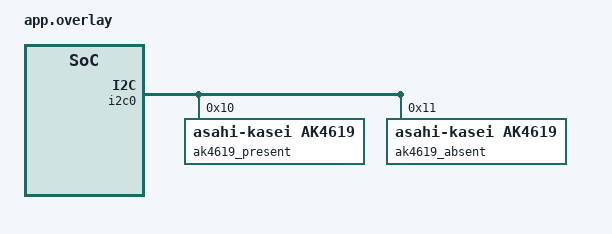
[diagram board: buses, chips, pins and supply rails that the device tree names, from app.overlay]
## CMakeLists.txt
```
cmake_minimum_required(VERSION 3.20.0)

find_package(Zephyr REQUIRED HINTS $ENV{ZEPHYR_BASE})
project(ak4619_tests)

# The driver under test lives with the sample that owns it (issue #42), so the
# suite reaches across to it rather than the other way round. This is the only
# place that path is spelled out.
set(AK4619_SAMPLE_DIR ${CMAKE_CURRENT_SOURCE_DIR}/../../../../samples/audio/ak4619_loopback)

target_sources(app PRIVATE
	${AK4619_SAMPLE_DIR}/drivers/ak4619.c
	${AK4619_SAMPLE_DIR}/src/loopback_verdict.c
	src/ak4619_emul.c
	src/test_ak4619.c
	src/test_loopback_verdict.c
)

# drivers/ for the driver's own header; src/ of the *sample* for
# loopback_format.h, the single definition of the audio format the codec and
# the two I2S blocks all come from (issue #46). The suite asserts what that
# definition programs, which is the only way to catch it drifting away from
# what the part can actually do without an evaluation board attached.
target_include_directories(app PRIVATE
	${AK4619_SAMPLE_DIR}/drivers
	${AK4619_SAMPLE_DIR}/src
	src
)
```

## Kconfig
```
# The codec driver is not part of the module, so its Kconfig does not arrive
# through the module glue the way the pipeline's does. It is rsourced straight
# from the sample that owns it, which is also what the sample's own Kconfig
# root does - one definition, two consumers.
rsource "../../../../samples/audio/ak4619_loopback/drivers/Kconfig"

# The same for the application's own choices: the suite compiles src/ of the
# sample, so it has to see the symbols src/loopback_format.h is written against.
rsource "../../../../samples/audio/ak4619_loopback/Kconfig.loopback"

# A test application supplies the Kconfig root, so the rest of the tree has to
# be sourced explicitly.
source "Kconfig.zephyr"
```

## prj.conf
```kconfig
CONFIG_ZTEST=y

# CONFIG_I2C arrives through CONFIG_AK4619, which the codec nodes in
# app.overlay turn on by themselves. What has to be named here is the emulated
# bus and the emulator framework the suite's stand-in part is built on: there
# is no I2C peripheral on native_sim, and the point of the suite is that there
# does not need to be one.
CONFIG_I2C_EMUL=y
CONFIG_EMUL=y

# The driver's diagnostics are part of what this ticket delivers, so build them
# and let them run - the absent-part case logs its checklist during suite
# start-up, which is a readable record of the failure path in the Twister log.
CONFIG_LOG=y
CONFIG_LOG_MODE_IMMEDIATE=y

# The absent part at 0x11 never answers, and its initialisation polls until it
# gives up. 20 ms keeps that bounded: two attempts on top of the datasheet's
# mandatory 10 ms settling wait, which is enough to exercise the retry without
# adding a visible pause to every run.
CONFIG_AK4619_PROBE_TIMEOUT_MS=20
```

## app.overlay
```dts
/*
 * Two AK4619 nodes on native_sim's emulated I2C controller, both backed by
 * src/ak4619_emul.c.
 *
 *   ak4619_present (0x10) behaves like a part that is powered and answering.
 *   ak4619_absent  (0x11) NACKs everything, the way an unpowered evaluation
 *                         board or a bus with nothing on it does.
 *
 * The second node is not decoration: issue #45 requires that a run against an
 * unpowered board fails with a diagnosable message rather than reporting
 * success or hanging, and a device that is expected *not* to become ready is
 * the only way to assert that without hardware. The emulator picks its
 * behaviour off the address, so the two share one compatible and one binding.
 *
 * SPDX-License-Identifier: Apache-2.0
 */

&i2c0 {
	status = "okay";

	ak4619_present: audio-codec@10 {
		compatible = "asahi-kasei,ak4619";
		reg = <0x10>;
		status = "okay";
	};

	ak4619_absent: audio-codec@11 {
		compatible = "asahi-kasei,ak4619";
		reg = <0x11>;
		status = "okay";
	};
};
```

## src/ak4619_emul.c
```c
/*
 * An emulated AK4619 on the native_sim I2C bus.
 *
 * It models what the driver actually depends on and nothing else: the 0x00-
 * 0x14 register file, the two-byte write and random-address read of datasheet
 * pp.57-58, and the internal address counter that auto-increments and rolls
 * over past 0x14. On top of that it can be told to misbehave, which is how the
 * "an ACK is not proof" half of issue #45 gets tested on a host.
 *
 * Deliberately NOT modelled: the reset defaults at power-on. The register file
 * comes up filled with a scribble pattern instead, so a test that finds the
 * datasheet defaults after init has watched the driver put them there. The
 * situation it stands for is real - a warm MCU restart against a codec that is
 * still powered and still configured from the previous run.
 *
 * SPDX-License-Identifier: Apache-2.0
 */

#define DT_DRV_COMPAT asahi_kasei_ak4619

#include <errno.h>
#include <string.h>

#include <zephyr/device.h>
#include <zephyr/drivers/emul.h>
#include <zephyr/drivers/i2c.h>
#include <zephyr/drivers/i2c_emul.h>
#include <zephyr/sys/util.h>

#include "ak4619_emul.h"

/* The register file the driver may touch, 0x00..0x14 (datasheet p.60). */
#define AK4619_EMUL_REG_COUNT 0x15U

/* What an untouched register file holds - see the file comment. */
#define AK4619_EMUL_SCRIBBLE 0x5AU

/*
 * The address the overlay gives the node that stands in for a part which is
 * not there. Keying on the address rather than on a devicetree property keeps
 * both nodes on the production binding, which is the point: the driver must
 * not need a test-only property to be testable.
 */
#define AK4619_EMUL_ABSENT_ADDR 0x11U

struct ak4619_emul_data {
	uint8_t regs[AK4619_EMUL_REG_COUNT];
	uint8_t addr_counter;
	enum ak4619_emul_fault fault;
	bool absent;
};

static struct ak4619_emul_data *emul_data(const struct emul *target)
{
	return target->data;
}

void ak4619_emul_set_fault(const struct emul *target, enum ak4619_emul_fault fault)
{
	emul_data(target)->fault = fault;
}

void ak4619_emul_scribble(const struct emul *target)
{
	struct ak4619_emul_data *data = emul_data(target);

	memset(data->regs, AK4619_EMUL_SCRIBBLE, sizeof(data->regs));
}

int ak4619_emul_peek(const struct emul *target, uint8_t reg, uint8_t *val)
{
	if (reg >= AK4619_EMUL_REG_COUNT) {
		return -EINVAL;
	}

	*val = emul_data(target)->regs[reg];

	return 0;
}

/* The internal counter rolls over past 0x14 rather than stalling (p.57). */
static void advance(struct ak4619_emul_data *data)
{
	data->addr_counter = (data->addr_counter + 1U) % AK4619_EMUL_REG_COUNT;
}

static int ak4619_emul_write_msg(struct ak4619_emul_data *data, const struct i2c_msg *msg)
{
	if (msg->len == 0U) {
		return 0;
	}

	/*
	 * The first byte of a write is always the sub-address, whose top bit
	 * is fixed at zero (p.57, Figures 36 and 38); everything after it is
	 * data, walking the counter.
	 */
	data->addr_counter = msg->buf[0] & 0x7FU;

	if (data->addr_counter >= AK4619_EMUL_REG_COUNT) {
		/* Writing 0x15..0x7F is prohibited; the driver must not. */
		return -EIO;
	}

	for (uint32_t i = 1U; i < msg->len; i++) {
		if (data->fault != AK4619_EMUL_FAULT_IGNORE_WRITES) {
			data->regs[data->addr_counter] = msg->buf[i];
		}
		advance(data);
	}

	return 0;
}

static int ak4619_emul_read_msg(struct ak4619_emul_data *data, struct i2c_msg *msg)
{
	for (uint32_t i = 0; i < msg->len; i++) {
		if (data->fault == AK4619_EMUL_FAULT_READ_ONES) {
			msg->buf[i] = 0xFFU;
		} else {
			msg->buf[i] = data->regs[data->addr_counter];
		}
		advance(data);
	}

	return 0;
}

static int ak4619_emul_transfer(const struct emul *target, struct i2c_msg *msgs, int num_msgs,
				int addr)
{
	struct ak4619_emul_data *data = emul_data(target);

	ARG_UNUSED(addr);

	if (data->absent || data->fault == AK4619_EMUL_FAULT_NACK) {
		/* No ACK: exactly what an unpowered board looks like. */
		return -EIO;
	}

	for (int i = 0; i < num_msgs; i++) {
		int ret;

		if ((msgs[i].flags & I2C_MSG_READ) != 0U) {
			ret = ak4619_emul_read_msg(data, &msgs[i]);
		} else {
			ret = ak4619_emul_write_msg(data, &msgs[i]);
		}

		if (ret < 0) {
			return ret;
		}
	}

	return 0;
}

static const struct i2c_emul_api ak4619_emul_api = {
	.transfer = ak4619_emul_transfer,
};

static int ak4619_emul_init(const struct emul *target, const struct device *parent)
{
	struct ak4619_emul_data *data = emul_data(target);

	ARG_UNUSED(parent);

	data->absent = (target->bus.i2c->addr == AK4619_EMUL_ABSENT_ADDR);
	data->fault = AK4619_EMUL_FAULT_NONE;
	data->addr_counter = 0U;
	ak4619_emul_scribble(target);

	return 0;
}

#define AK4619_EMUL_DEFINE(inst)                                                                   \
	static struct ak4619_emul_data ak4619_emul_data_##inst;                                    \
	EMUL_DT_INST_DEFINE(inst, ak4619_emul_init, &ak4619_emul_data_##inst, NULL,                \
			    &ak4619_emul_api, NULL)

DT_INST_FOREACH_STATUS_OKAY(AK4619_EMUL_DEFINE)
```

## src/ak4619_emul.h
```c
/*
 * Test-side control of the emulated AK4619 - see ak4619_emul.c.
 *
 * SPDX-License-Identifier: Apache-2.0
 */

#ifndef ZEPHYR_AUDIO_TOOLKIT_TESTS_AK4619_EMUL_H_
#define ZEPHYR_AUDIO_TOOLKIT_TESTS_AK4619_EMUL_H_

#include <stdint.h>

#include <zephyr/drivers/emul.h>

/** Ways the emulated part can be made to lie, all of them things a real bus does. */
enum ak4619_emul_fault {
	/** Behaves like a healthy AK4619. */
	AK4619_EMUL_FAULT_NONE,
	/** ACKs every byte and throws the writes away: the "ACK into the void" case. */
	AK4619_EMUL_FAULT_IGNORE_WRITES,
	/** Reads return 0xFF, which is what an idle open-drain bus reads as. */
	AK4619_EMUL_FAULT_READ_ONES,
	/** Nothing on the bus answers at all. */
	AK4619_EMUL_FAULT_NACK,
};

/** Select the emulated part's behaviour. */
void ak4619_emul_set_fault(const struct emul *target, enum ak4619_emul_fault fault);

/** Refill the register file with the scribble pattern an untouched part holds. */
void ak4619_emul_scribble(const struct emul *target);

/** Read a register out of band, without going through the bus. */
int ak4619_emul_peek(const struct emul *target, uint8_t reg, uint8_t *val);

#endif /* ZEPHYR_AUDIO_TOOLKIT_TESTS_AK4619_EMUL_H_ */
```

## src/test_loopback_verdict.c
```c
/*
 * The loopback's oracle on a host: the arithmetic that decides PASS or FAIL,
 * checked without an evaluation board, a cable or a codec.
 *
 * WHY THIS SUITE EXISTS
 * ---------------------
 * Everything the console prints at the end of a hardware run comes out of
 * src/loopback_verdict.c, and every mistake in it produces a plausible-looking
 * console. A level computed 48 dB low because the captured word was read as if
 * it were right-justified still prints a number, still prints a verdict, and
 * still looks like a wiring problem to whoever is holding the cable. The cases
 * below are the ones that cannot be told apart on a bench.
 *
 * The one that matters most is
 * test_loopback_verdict_fails_a_capture_that_ignored_the_slot_padding: it feeds
 * in exactly the samples the AK4619's ADC produces, once placed correctly in
 * the 32-bit slot and once placed as a naive reader would place them, and
 * requires the two to reach opposite verdicts.
 *
 * SPDX-License-Identifier: Apache-2.0
 */

#include <errno.h>
#include <string.h>

#include <zephyr/ztest.h>

#include "loopback_format.h"
#include "loopback_verdict.h"

/*
 * These cases carry numbers worked out by hand from the gain plan of
 * docs/hardware/akd4619-evaluation-board.md §4.5, so they are only correct for
 * that plan. Asserted rather than skipped: a change to the levels or to the
 * slot length has to be followed here, and a build error says so where a
 * skipped case would not.
 */
BUILD_ASSERT(AK4619_LOOPBACK_CAPTURE_BITS == 24U,
	     "the numbers below assume the 24-bit ADC word of a 32-bit slot");
BUILD_ASSERT(AK4619_LOOPBACK_EXPECTED_RMS_DBFS_X10 == -120,
	     "the numbers below assume the -12.0 dBFS RMS the §4.5 gain plan produces");
BUILD_ASSERT(AK4619_LOOPBACK_TONE_DBFS_X10 == -30,
	     "the numbers below assume a -3.0 dBFS peak stimulus");

/** Full scale of the ADC's own output word. */
#define ADC_FULL_SCALE (1 << (AK4619_LOOPBACK_CAPTURE_BITS - 1U))

/*
 * The peak the ADC should produce with the loop closed.
 *
 * The tone is -3.0 dBFS peak and the loop's gain is -6.0 dB (§4.5), so the
 * captured peak is -9.0 dBFS of the ADC's own full scale:
 * 2^23 * 10^(-9.02/20) = 8388608 * 0.35481 = 2976427.
 */
#define ADC_PEAK_GOOD 2976427

/** Q16 of 1/sqrt(2): a sine's RMS relative to its peak. */
#define RMS_OF_PEAK_Q16 46341

/*
 * The RMS the analyzer reports for a sine of @p container_peak in the canonical
 * container.
 *
 * Two narrowings, in the order the real path applies them: the analyzer shifts
 * every sample down by AUDIO_TONE_ANALYZER_INPUT_SHIFT before it measures
 * anything, and what it publishes is an RMS rather than a peak.
 */
static int32_t analyzer_rms_for_container_peak(int32_t container_peak)
{
	int64_t narrowed = (int64_t)(container_peak >> AUDIO_TONE_ANALYZER_INPUT_SHIFT);

	return (int32_t)((narrowed * RMS_OF_PEAK_Q16) >> 16);
}

/*
 * A result of the shape the tone analyzer publishes for a healthy stereo
 * loopback, with each channel's RMS set by the caller.
 */
static void make_result(struct audio_tone_analyzer_result *result,
			enum audio_tone_analyzer_verdict verdict, int32_t rms_lch, int32_t rms_rch)
{
	const int32_t rms[2] = {rms_lch, rms_rch};
	uint8_t ch;

	memset(result, 0, sizeof(*result));
	result->verdict = verdict;
	result->windows = 5;
	result->window_samples = AK4619_LOOPBACK_WINDOW_SAMPLES;
	result->channels = 2;
	result->tones = 2;

	for (ch = 0; ch < 2U; ch++) {
		/* Each channel carries its own tone and nothing else: nearly all
		 * of its energy in its own bin, a clean one-sinusoid fit.
		 */
		result->channel[ch].in_band_q15[ch] = AUDIO_TONE_ANALYZER_UNITY_Q15 - 100;
		result->channel[ch].in_band_q15[1U - ch] = 30;
		result->channel[ch].rms = rms[ch];
		result->channel[ch].residual_q15 = 4;
		result->channel[ch].strongest = (int8_t)ch;
		result->channel[ch].tonal = true;
		result->channel[ch].silent = rms[ch] < AUDIO_TONE_ANALYZER_SILENCE_RMS;
	}
}

ZTEST_SUITE(ak4619_loopback_verdict, NULL, NULL, NULL, NULL, NULL);

ZTEST(ak4619_loopback_verdict, test_loopback_verdict_converts_known_ratios_to_decibels)
{
	const int32_t full = AUDIO_TONE_ANALYZER_INPUT_MAX;

	zassert_equal(ak4619_loopback_dbfs_x10(full, full), 0, "full scale is 0 dBFS");
	zassert_equal(ak4619_loopback_dbfs_x10(full / 2, full), -60, "half is -6.0 dBFS");
	zassert_equal(ak4619_loopback_dbfs_x10(full / 4, full), -120, "a quarter is -12.0 dBFS");
	zassert_equal(ak4619_loopback_dbfs_x10(full / 1024, full), -602,
		      "1/1024 is -60.2 dBFS, which is where a 10-bit error would land");

	/* Zero has no logarithm, and an unusable reference is not a level. */
	zassert_equal(ak4619_loopback_dbfs_x10(0, full), AK4619_LOOPBACK_DBFS_FLOOR_X10);
	zassert_equal(ak4619_loopback_dbfs_x10(-1, full), AK4619_LOOPBACK_DBFS_FLOOR_X10);
	zassert_equal(ak4619_loopback_dbfs_x10(full, 0), AK4619_LOOPBACK_DBFS_FLOOR_X10);
}

ZTEST(ak4619_loopback_verdict, test_loopback_verdict_amplitude_matches_the_level_it_claims)
{
	/*
	 * AK4619_LOOPBACK_TONE_AMPLITUDE_Q15 and AK4619_LOOPBACK_TONE_DBFS_X10
	 * are two statements of one thing: the Q15 value is what the tone
	 * generator is given, the decibel value is what the pass window is built
	 * from. Nothing in the application compares them, so this does.
	 */
	zassert_equal(ak4619_loopback_dbfs_x10(AK4619_LOOPBACK_TONE_AMPLITUDE_Q15,
					       AUDIO_TONE_ANALYZER_INPUT_MAX),
		      AK4619_LOOPBACK_TONE_DBFS_X10,
		      "the tone's Q15 amplitude and its stated level have drifted apart");
}

ZTEST(ak4619_loopback_verdict, test_loopback_verdict_expectation_follows_the_programmed_gains)
{
	/* The expectation is the tone, plus the three gains the driver writes to
	 * the part, plus the RMS-of-a-sine conversion - and nothing else. Stated
	 * again here so that a change to any of them has to be deliberate.
	 */
	zassert_equal(AK4619_LOOPBACK_LOOP_GAIN_DBFS_X10, -60,
		      "the §4.5 gain plan is DAC -6.0 dB, MIC amp 0 dB, ADC digital 0 dB");
	zassert_equal(AK4619_LOOPBACK_EXPECTED_RMS_DBFS_X10, -120);
	zassert_equal(AK4619_LOOPBACK_LEVEL_TOLERANCE_X10, 40);
}

ZTEST(ak4619_loopback_verdict, test_loopback_verdict_passes_a_good_window)
{
	struct audio_tone_analyzer_result result;
	struct ak4619_loopback_report report;
	int32_t rms = analyzer_rms_for_container_peak(
		ak4619_loopback_capture_to_container(ADC_PEAK_GOOD));

	make_result(&result, AUDIO_TONE_ANALYZER_VERDICT_PASS, rms, rms);

	zassert_ok(ak4619_loopback_evaluate(&result, &report));
	zassert_equal(report.verdict, AK4619_LOOPBACK_VERDICT_PASS, "verdict was %s",
		      ak4619_loopback_verdict_name(report.verdict));
	zassert_true(ak4619_loopback_passed(&report));
	zassert_equal(report.channel_at_fault, -1, "a pass blames no channel");
	zassert_equal(report.channels, 2);
	zassert_equal(report.windows, 5);

	/* And the level it reports is the one the gain plan predicts, to the
	 * tenth of a decibel the console prints.
	 */
	zassert_within(report.channel[0].level_dbfs_x10, AK4619_LOOPBACK_EXPECTED_RMS_DBFS_X10, 2,
		       "Lch measured %d, expected %d", report.channel[0].level_dbfs_x10,
		       AK4619_LOOPBACK_EXPECTED_RMS_DBFS_X10);
	zassert_equal(report.channel[0].carries, 0, "Lch must carry the first tone");
	zassert_equal(report.channel[1].carries, 1, "Rch must carry the second tone");
}

ZTEST(ak4619_loopback_verdict, test_loopback_verdict_fails_a_capture_that_ignored_the_slot_padding)
{
	struct audio_tone_analyzer_result result;
	struct ak4619_loopback_report report;
	int32_t rms_placed;
	int32_t rms_naive;

	/*
	 * The same ADC output word, placed two ways.
	 *
	 * Correct: the part puts its 24-bit word at the start of the 32-bit slot
	 * and pads with zeros, so the word ends at the top of the container.
	 * Naive: treat the slot value as a right-justified 24-bit number.
	 *
	 * The two differ by 8 bits of slot padding plus the 16 the wire seam
	 * would otherwise apply - 48 dB - which is the whole difference between
	 * a working loop and one that looks broken.
	 */
	rms_placed = analyzer_rms_for_container_peak(
		ak4619_loopback_capture_to_container(ADC_PEAK_GOOD));
	rms_naive = analyzer_rms_for_container_peak(ADC_PEAK_GOOD);

	zassert_true(rms_placed > rms_naive * 100,
		     "the two placements must be orders of magnitude apart, not adjacent");

	make_result(&result, AUDIO_TONE_ANALYZER_VERDICT_PASS, rms_naive, rms_naive);
	zassert_ok(ak4619_loopback_evaluate(&result, &report));

	/* The analyzer is perfectly happy: the tone is on the right channel and
	 * it is tonal. Only the level says the sample was never put where the
	 * part actually puts it.
	 */
	zassert_equal(report.verdict, AK4619_LOOPBACK_VERDICT_LEVEL_LOW,
		      "a 48 dB placement error must fail on level, not pass quietly (%s)",
		      ak4619_loopback_verdict_name(report.verdict));
	zassert_equal(report.channel_at_fault, 0, "the first channel out of range is named");
}

ZTEST(ak4619_loopback_verdict, test_loopback_verdict_reports_a_quiet_loop_and_names_the_channel)
{
	struct audio_tone_analyzer_result result;
	struct ak4619_loopback_report report;
	int32_t good = analyzer_rms_for_container_peak(
		ak4619_loopback_capture_to_container(ADC_PEAK_GOOD));

	/* One channel 6 dB down: inside no tolerance, and a different fault from
	 * both channels being down - one bad contact rather than a gain plan
	 * that was not programmed.
	 */
	make_result(&result, AUDIO_TONE_ANALYZER_VERDICT_PASS, good, good / 2);

	zassert_ok(ak4619_loopback_evaluate(&result, &report));
	zassert_equal(report.verdict, AK4619_LOOPBACK_VERDICT_LEVEL_LOW);
	zassert_equal(report.channel_at_fault, 1, "the right channel is the one at fault");
}

ZTEST(ak4619_loopback_verdict, test_loopback_verdict_reports_a_loud_loop)
{
	struct audio_tone_analyzer_result result;
	struct ak4619_loopback_report report;
	int32_t good = analyzer_rms_for_container_peak(
		ak4619_loopback_capture_to_container(ADC_PEAK_GOOD));

	/* 6 dB up, which on this loop means the ADC is a few dB from clipping. */
	make_result(&result, AUDIO_TONE_ANALYZER_VERDICT_PASS, good * 2, good * 2);

	zassert_ok(ak4619_loopback_evaluate(&result, &report));
	zassert_equal(report.verdict, AK4619_LOOPBACK_VERDICT_LEVEL_HIGH);
	zassert_equal(report.channel_at_fault, 0);
}

ZTEST(ak4619_loopback_verdict, test_loopback_verdict_accepts_the_whole_tolerance_band)
{
	struct audio_tone_analyzer_result result;
	struct ak4619_loopback_report report;
	int32_t good = analyzer_rms_for_container_peak(
		ak4619_loopback_capture_to_container(ADC_PEAK_GOOD));

	/* 3 dB either way is inside the 4 dB budget, so neither end of a
	 * worst-case pairing of the two full-scale tolerances fails.
	 */
	make_result(&result, AUDIO_TONE_ANALYZER_VERDICT_PASS, (int32_t)(((int64_t)good * 7) / 10),
		    (int32_t)(((int64_t)good * 14) / 10));

	zassert_ok(ak4619_loopback_evaluate(&result, &report));
	zassert_equal(report.verdict, AK4619_LOOPBACK_VERDICT_PASS,
		      "+-3 dB has to stay inside the window (%s)",
		      ak4619_loopback_verdict_name(report.verdict));
}

ZTEST(ak4619_loopback_verdict, test_loopback_verdict_reports_silence_as_silence)
{
	struct audio_tone_analyzer_result result;
	struct ak4619_loopback_report report;

	/* The unplugged-cable outcome: clocks running, ADC delivering, nothing
	 * on the wire. It must never be reported as a level failure - "too
	 * quiet" would send a human looking at gain registers.
	 */
	make_result(&result, AUDIO_TONE_ANALYZER_VERDICT_SILENT, 0, 0);

	zassert_ok(ak4619_loopback_evaluate(&result, &report));
	zassert_equal(report.verdict, AK4619_LOOPBACK_VERDICT_SILENT);
	zassert_false(ak4619_loopback_passed(&report));
	zassert_equal(report.channel[0].level_dbfs_x10, AK4619_LOOPBACK_DBFS_FLOOR_X10,
		      "a silent channel reports the floor rather than an invented number");
}

ZTEST(ak4619_loopback_verdict, test_loopback_verdict_reports_a_swap_as_a_swap)
{
	struct audio_tone_analyzer_result result;
	struct ak4619_loopback_report report;
	int32_t good = analyzer_rms_for_container_peak(
		ak4619_loopback_capture_to_container(ADC_PEAK_GOOD));

	make_result(&result, AUDIO_TONE_ANALYZER_VERDICT_SWAPPED, good, good);
	/* Each channel carries the other's tone, at the right level. */
	result.channel[0].strongest = 1;
	result.channel[1].strongest = 0;

	zassert_ok(ak4619_loopback_evaluate(&result, &report));
	zassert_equal(report.verdict, AK4619_LOOPBACK_VERDICT_SWAPPED,
		      "a swap must be a swap, not a generic failure");
	zassert_equal(report.channel[0].carries, 1, "the report carries what each channel had");
	zassert_equal(report.channel[1].carries, 0);
}

ZTEST(ak4619_loopback_verdict, test_loopback_verdict_distinguishes_noise_from_a_wrong_tone)
{
	struct audio_tone_analyzer_result result;
	struct ak4619_loopback_report report;
	int32_t good = analyzer_rms_for_container_peak(
		ak4619_loopback_capture_to_container(ADC_PEAK_GOOD));

	/* Energy with no single sinusoid in it: the signature of a word carried
	 * to the peripheral in the wrong order, which is a host problem and not
	 * a wiring one.
	 */
	make_result(&result, AUDIO_TONE_ANALYZER_VERDICT_NOISE, good, good);
	result.channel[0].tonal = false;
	result.channel[1].tonal = false;

	zassert_ok(ak4619_loopback_evaluate(&result, &report));
	zassert_equal(report.verdict, AK4619_LOOPBACK_VERDICT_NOISE);
	zassert_equal(report.channel_at_fault, 0);

	/* A tone that is simply not the expected one is a different fault. */
	make_result(&result, AUDIO_TONE_ANALYZER_VERDICT_WRONG_FREQ, good, good);
	result.channel[0].strongest = -1;

	zassert_ok(ak4619_loopback_evaluate(&result, &report));
	zassert_equal(report.verdict, AK4619_LOOPBACK_VERDICT_WRONG_TONE);
	zassert_equal(report.channel[0].carries, -1);
}

ZTEST(ak4619_loopback_verdict, test_loopback_verdict_reports_no_window_before_the_first_one)
{
	struct audio_tone_analyzer_result result;
	struct ak4619_loopback_report report;

	/* A zeroed result is what audio_tone_analyzer_get_result() returns
	 * before anything has been measured. Reading it as silence would blame
	 * the cable for a capture that never ran.
	 */
	memset(&result, 0, sizeof(result));
	result.channels = 2;

	zassert_ok(ak4619_loopback_evaluate(&result, &report));
	zassert_equal(report.verdict, AK4619_LOOPBACK_VERDICT_NO_WINDOW);
	zassert_equal(report.windows, 0);

	/* And a completed window whose verdict is still NONE is the same case. */
	make_result(&result, AUDIO_TONE_ANALYZER_VERDICT_NONE, 1000, 1000);
	zassert_ok(ak4619_loopback_evaluate(&result, &report));
	zassert_equal(report.verdict, AK4619_LOOPBACK_VERDICT_NO_WINDOW);
}

ZTEST(ak4619_loopback_verdict, test_loopback_verdict_refuses_what_it_cannot_evaluate)
{
	struct audio_tone_analyzer_result result;
	struct ak4619_loopback_report report;

	make_result(&result, AUDIO_TONE_ANALYZER_VERDICT_PASS, 1000, 1000);

	zassert_equal(ak4619_loopback_evaluate(NULL, &report), -EINVAL);
	zassert_equal(ak4619_loopback_evaluate(&result, NULL), -EINVAL);

	/* More channels than there is room to report on is refused rather than
	 * truncated: a report about two of four channels is not a verdict.
	 */
	result.channels = AK4619_LOOPBACK_MAX_CHANNELS + 1U;
	zassert_equal(ak4619_loopback_evaluate(&result, &report), -EINVAL);
}

ZTEST(ak4619_loopback_verdict, test_loopback_verdict_has_a_name_and_a_hint_for_every_outcome)
{
	/* The console prints both for whatever verdict comes out, so a verdict
	 * added without its text would print a default that helps nobody.
	 */
	for (int v = AK4619_LOOPBACK_VERDICT_PASS; v <= AK4619_LOOPBACK_VERDICT_UNKNOWN; v++) {
		const char *name = ak4619_loopback_verdict_name((enum ak4619_loopback_verdict)v);
		const char *hint = ak4619_loopback_verdict_hint((enum ak4619_loopback_verdict)v);

		zassert_not_null(name);
		zassert_not_null(hint);
		zassert_true(strlen(name) > 0, "verdict %d has no name", v);
		zassert_true(strlen(hint) > 0, "verdict %d has no hint", v);

		/* Every outcome but the first has to read as a failure on the
		 * one line a human looks at.
		 */
		if (v == AK4619_LOOPBACK_VERDICT_PASS) {
			zassert_equal(strncmp(name, "PASS", 4), 0);
		} else {
			zassert_equal(strncmp(name, "FAIL", 4), 0, "verdict %d does not say FAIL",
				      v);
		}
	}
}
```
